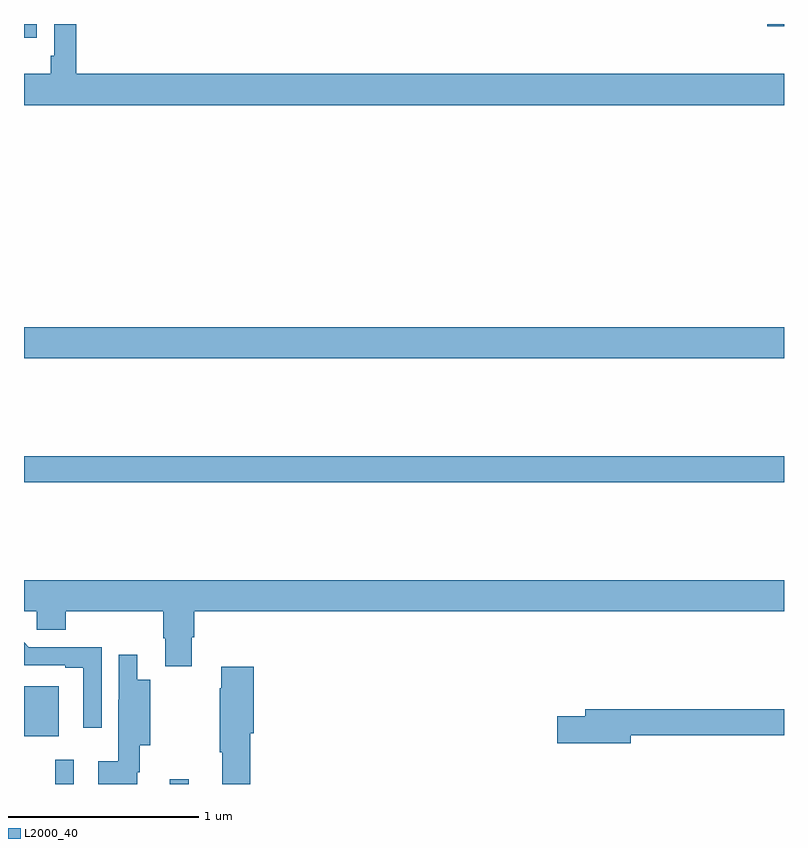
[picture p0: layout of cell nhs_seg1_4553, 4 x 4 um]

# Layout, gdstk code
import gdstk
lib = gdstk.Library(unit=1e-6, precision=1e-09)
def R(c, l, rs):  # rectangles x0, y0, x1, y1
    for r in rs: c.add(gdstk.rectangle(r[:2], r[2:], *l))
def P(c, l, *ps):  # polygons
    for p in ps: c.add(gdstk.Polygon(p, *l))
L2000_40 = (2000, 40)

nhs_seg1_4553 = lib.new_cell('nhs_seg1_4553')
R(nhs_seg1_4553, L2000_40, [(359.165,508.199,359.262,508.327), (359.768,508.199,359.866,508.225), (359,508.451,359.182,508.714), (359,509.788,363,509.924), (359,510.44,363,510.604), (359,512.127,359.068,512.199), (362.912,512.187,363,512.199)])
P(nhs_seg1_4553, L2000_40, [(363,511.936),(359.276,511.936),(359.276,512.199),(359.16,512.199),(359.16,512.032),(359.14,512.032),(359.14,511.936),(359,511.936),(359,511.772),(363,511.772)],
  [(359.884,508.971),(359.897,508.971),(359.897,509.108),(363,509.108),(363,509.272),(359,509.272),(359,509.108),(359.067,509.108),(359.067,509.01),(359.219,509.01),(359.219,509.108),(359.732,509.108),(359.732,508.966),(359.744,508.966),(359.744,508.818),(359.884,508.818)],
  [(359.409,508.92),(359.025,508.92),(359,508.945),(359,508.824),(359.216,508.824),(359.216,508.812),(359.312,508.812),(359.312,508.494),(359.409,508.494)],
  [(359.595,508.262),(359.608,508.262),(359.608,508.403),(359.664,508.403),(359.664,508.747),(359.596,508.747),(359.596,508.879),(359.498,508.879),(359.498,508.643),(359.497,508.643),(359.497,508.318),(359.39,508.318),(359.39,508.199),(359.595,508.199)],
  [(360.191,508.467),(360.209,508.467),(360.209,508.816),(360.038,508.816),(360.038,508.703),(360.031,508.703),(360.031,508.367),(360.044,508.367),(360.044,508.199),(360.191,508.199)],
  [(362.194,508.456),(363,508.456),(363,508.592),(361.955,508.592),(361.955,508.556),(361.806,508.556),(361.806,508.414),(362.194,508.414)])

lib.write_gds('nhs_seg1_4553.gds')
